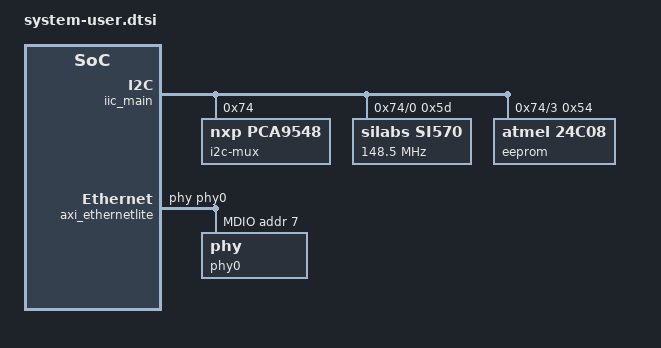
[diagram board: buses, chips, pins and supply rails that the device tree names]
/include/ "system-conf.dtsi"
/ {
};

&iic_main {
	#address-cells = <1>;
	#size-cells = <0>;
	i2c-mux@74 {
		compatible = "nxp,pca9548";
		#address-cells = <1>;
		#size-cells = <0>;
		reg = <0x74>;
		i2c@0 {
			#address-cells = <1>;
			#size-cells = <0>;
			reg = <0>;
			si570: clock-generator@5d {
				#clock-cells = <0>;
				compatible = "silabs,si570";
				temperature-stability = <50>;
				reg = <0x5d>;
				factory-fout = <156250000>;
				clock-frequency = <148500000>;
			};
		};
		i2c@3 {
			#address-cells = <1>;
			#size-cells = <0>;
			reg = <3>;
			eeprom@54 {
				compatible = "atmel,24c08";
				reg = <0x54>;
			};
		};
	};
};

&axi_ethernetlite {
	phy-handle = <&phy0>;
	axi_ethernetlite_mdio: mdio {
		#address-cells = <1>;
		#size-cells = <0>;
		phy0: phy@7 {
			device_type = "ethernet-phy";
			reg = <7>;
		};
	};
};

